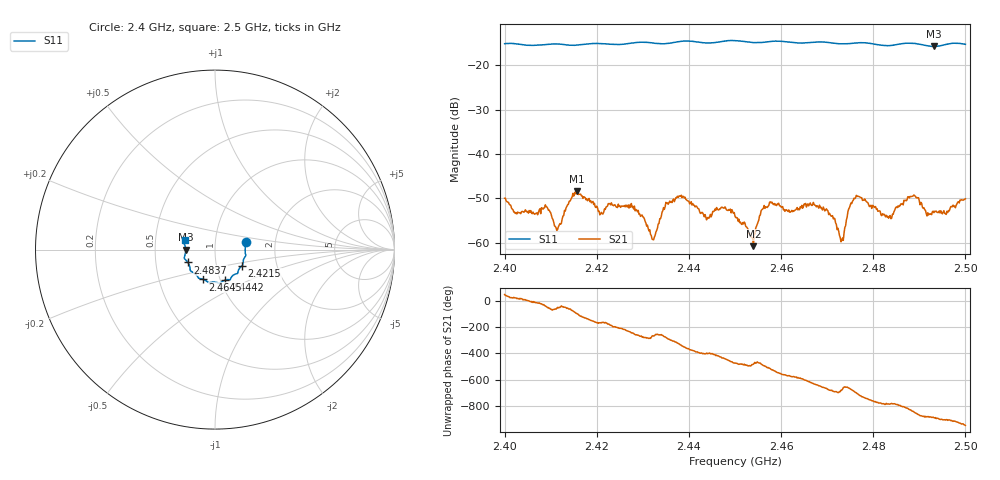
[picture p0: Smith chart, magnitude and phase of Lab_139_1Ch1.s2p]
# Hz S RI R 50
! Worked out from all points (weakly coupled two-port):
!   601 points, 2.4 GHz to 2.5 GHz, reference 50 ohm
!   highest |S21| = -48.39 dB at 2.4157 GHz (marker M1); lowest = -60.8 dB at 2.454 GHz (marker M2)
!   lowest |S11| = -15.7 dB at 2.4932 GHz (marker M3), VSWR 1.39, Z = 35.9 - j0.0457 ohm
!   |S11| at or under -10 dB: start of sweep to end of sweep
!   S12 and S22 are empty: the file has one direction only
!   S11 on the Smith chart (normalised r, x): 2.4 GHz: 1.41, +0.12; 2.4215 GHz: 1.33, -0.25; 2.4442 GHz: 1.05, -0.37; 2.4645 GHz: 0.83, -0.29; 2.4837 GHz: 0.73, -0.11; 2.5 GHz: 0.71, +0.07
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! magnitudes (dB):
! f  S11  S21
! 2.4 GHz  -15.1  -50.0
! 2.4092 GHz  -15.3  -52.0
! 2.4113 GHz  -15.2  -57.3
! 2.4157 GHz  -15.4  -48.4
! 2.4167 GHz  -15.3  -49.4
! 2.4215 GHz  -15.1  -53.2
! 2.4322 GHz  -15.0  -59.3
! 2.4333 GHz  -15.1  -55.8
! 2.4378 GHz  -14.6  -49.5
! 2.4442 GHz  -15.0  -54.3
! 2.45 GHz  -14.4  -54.0
! 2.454 GHz  -14.9  -60.8
! 2.4577 GHz  -14.6  -50.8
! 2.4645 GHz  -15.0  -51.6
! 2.4667 GHz  -14.8  -51.6
! 2.4732 GHz  -15.1  -59.5
! 2.4763 GHz  -14.9  -49.3
! 2.4833 GHz  -15.6  -54.5
! 2.4837 GHz  -15.5  -53.9
! 2.4885 GHz  -15.0  -49.5
! 2.4932 GHz  -15.7  -53.2
! 2.5 GHz  -15.2  -50.1
